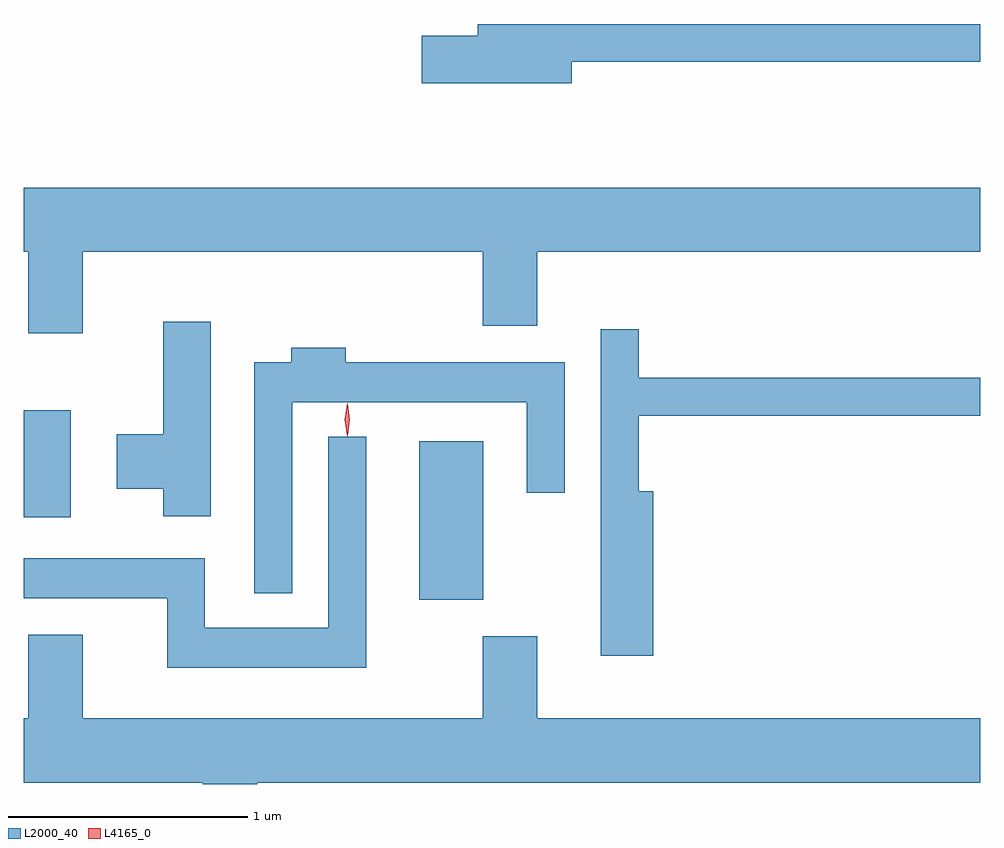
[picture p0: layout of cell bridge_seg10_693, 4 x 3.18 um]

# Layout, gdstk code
import gdstk
lib = gdstk.Library(unit=1e-6, precision=1e-09)
def R(c, l, rs):  # rectangles x0, y0, x1, y1
    for r in rs: c.add(gdstk.rectangle(r[:2], r[2:], *l))
def P(c, l, *ps):  # polygons
    for p in ps: c.add(gdstk.Polygon(p, *l))
L2000_40 = (2000, 40)
L4165_0 = (4165, 0)

bridge_seg10_693 = lib.new_cell('bridge_seg10_693')
R(bridge_seg10_693, L2000_40, [(1025.186,2114.681,1025.454,2115.344), (1023.532,2115.026,1023.729,2115.474)])
P(bridge_seg10_693, L2000_40, [(1025.824,2116.931),(1027.532,2116.931),(1027.532,2117.089),(1025.431,2117.089),(1025.431,2117.039),(1025.196,2117.039),(1025.196,2116.841),(1025.824,2116.841)],
  [(1023.779,2116.136),(1025.451,2116.136),(1025.451,2115.826),(1025.679,2115.826),(1025.679,2116.136),(1027.532,2116.136),(1027.532,2116.404),(1023.532,2116.404),(1023.532,2116.136),(1023.551,2116.136),(1023.551,2115.796),(1023.779,2115.796)],
  [(1024.314,2115.844),(1024.116,2115.844),(1024.116,2115.374),(1023.921,2115.374),(1023.921,2115.146),(1024.116,2115.146),(1024.116,2115.031),(1024.314,2115.031)],
  [(1026.164,2115.134),(1026.104,2115.134),(1026.104,2115.451),(1027.532,2115.451),(1027.532,2115.609),(1026.104,2115.609),(1026.104,2115.813),(1025.946,2115.813),(1025.946,2114.446),(1026.164,2114.446)],
  [(1024.654,2115.506),(1025.636,2115.506),(1025.636,2115.128),(1025.794,2115.128),(1025.794,2115.674),(1024.879,2115.674),(1024.879,2115.734),(1024.651,2115.734),(1024.651,2115.674),(1024.496,2115.674),(1024.496,2114.708),(1024.654,2114.708)],
  [(1024.964,2115.363),(1024.806,2115.363),(1024.806,2114.564),(1024.289,2114.564),(1024.289,2114.854),(1023.532,2114.854),(1023.532,2114.686),(1024.131,2114.686),(1024.131,2114.396),(1024.964,2114.396)],
  [(1024.509,2113.916),(1027.532,2113.916),(1027.532,2114.184),(1025.679,2114.184),(1025.679,2114.529),(1025.451,2114.529),(1025.451,2114.184),(1023.779,2114.184),(1023.779,2114.534),(1023.551,2114.534),(1023.551,2114.184),(1023.532,2114.184),(1023.532,2113.916),(1024.281,2113.916),(1024.281,2113.91),(1024.509,2113.91)])
P(bridge_seg10_693, L4165_0, [(1024.886,2115.367),(1024.886,2115.367),(1024.876,2115.434),(1024.886,2115.5),(1024.886,2115.501),(1024.886,2115.5),(1024.896,2115.434),(1024.886,2115.367)],
  [(1024.884,2115.364),(1024.875,2115.434),(1024.884,2115.503),(1024.885,2115.503),(1024.885,2115.503),(1024.895,2115.434),(1024.885,2115.364),(1024.885,2115.364)])

lib.write_gds('bridge_seg10_693.gds')
